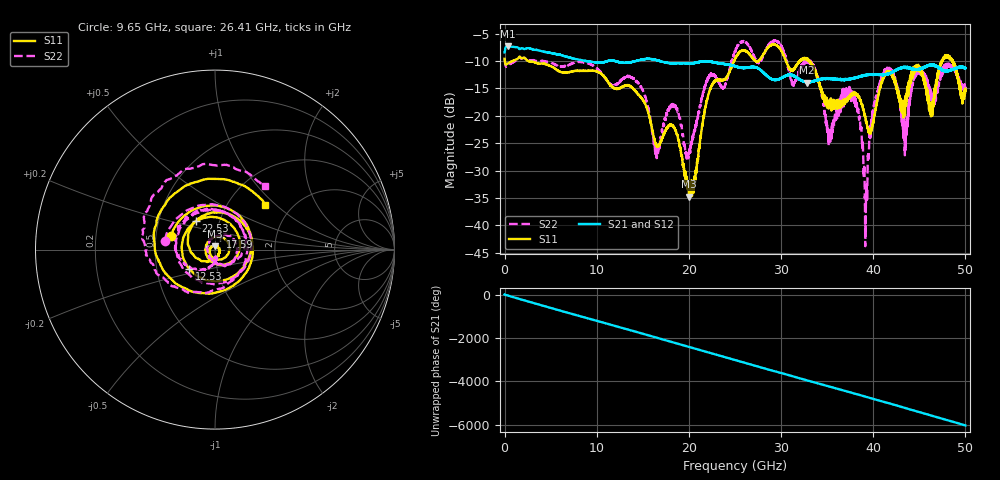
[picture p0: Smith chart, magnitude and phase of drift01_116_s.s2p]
!Created with skrf (http://scikit-rf.org).
# Hz S RI R 50.0
!freq ReS11 ImS11 ReS21 ImS21 ReS12 ImS12 ReS22 ImS22
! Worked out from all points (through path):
!   10001 points, 300 kHz to 50 GHz, reference 50 ohm
!   highest |S21| = -7.33 dB at 315.3 MHz (marker M1); lowest = -13.9 dB at 32.77 GHz (marker M2)
!   group delay of S21, straight-line fit = 335 ps
!   lowest |S11| = -34.8 dB at 20.01 GHz (marker M3), VSWR 1.04, Z = 49.8 + j1.81 ohm
!   |S11| at or under -10 dB: 2.558 GHz to 24.9 GHz (22.34 GHz wide, 163 % of centre); 30.53 GHz to 32.02 GHz (1.485 GHz wide, 4.75 % of centre); 33.07 GHz to 47.45 GHz (14.38 GHz wide, 35.7 % of centre) (the widest 3 of 20)
!   |S22| runs from -43.8 to -6.3 dB; largest |S21 - S12| = 0.01
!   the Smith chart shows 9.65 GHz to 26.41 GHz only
!   S11 on the Smith chart (normalised r, x): 9.65 GHz: 0.60, +0.10; 12.53 GHz: 0.73, -0.16; 17.59 GHz: 1.05, +0.15; 22.53 GHz: 0.77, +0.26; 26.41 GHz: 1.48, +0.86
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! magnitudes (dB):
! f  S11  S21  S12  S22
! 300 kHz  -9.6  -8.4  -8.5  -9.5
! 315.3 MHz  -10.5  -7.3  -7.3  -10.9
! 8.335 GHz  -11.8  -9.8  -9.8  -10.2
! 9.65 GHz  -11.8  -10.2  -10.2  -10.9
! 12.53 GHz  -14.9  -10.2  -10.3  -13.6
! 16.67 GHz  -25.6  -9.9  -9.9  -27.1
! 17.59 GHz  -22.3  -10.3  -10.3  -19.6
! 20.01 GHz  -34.8  -10.5  -10.5  -26.7
! 22.53 GHz  -14.3  -10.2  -10.2  -12.3
! 25 GHz  -9.6  -11.0  -11.0  -8.2
! 26.41 GHz  -8.5  -11.2  -11.2  -6.9
! 32.77 GHz  -9.7  -13.9  -13.8  -10.1
! 33.34 GHz  -10.7  -13.8  -13.8  -10.4
! 35.25 GHz  -18.0  -13.2  -13.2  -23.6
! 37.99 GHz  -15.9  -13.1  -13.1  -17.6
! 39.17 GHz  -20.6  -12.6  -12.6  -41.0
! 40.14 GHz  -19.8  -12.5  -12.5  -17.8
! 41.67 GHz  -11.9  -12.3  -12.3  -12.1
! 43.43 GHz  -17.6  -11.2  -11.2  -27.2
! 44.88 GHz  -10.7  -11.5  -11.6  -12.2
! 46.27 GHz  -20.1  -10.7  -10.7  -16.4
! 50 GHz  -15.5  -11.3  -11.3  -14.9
